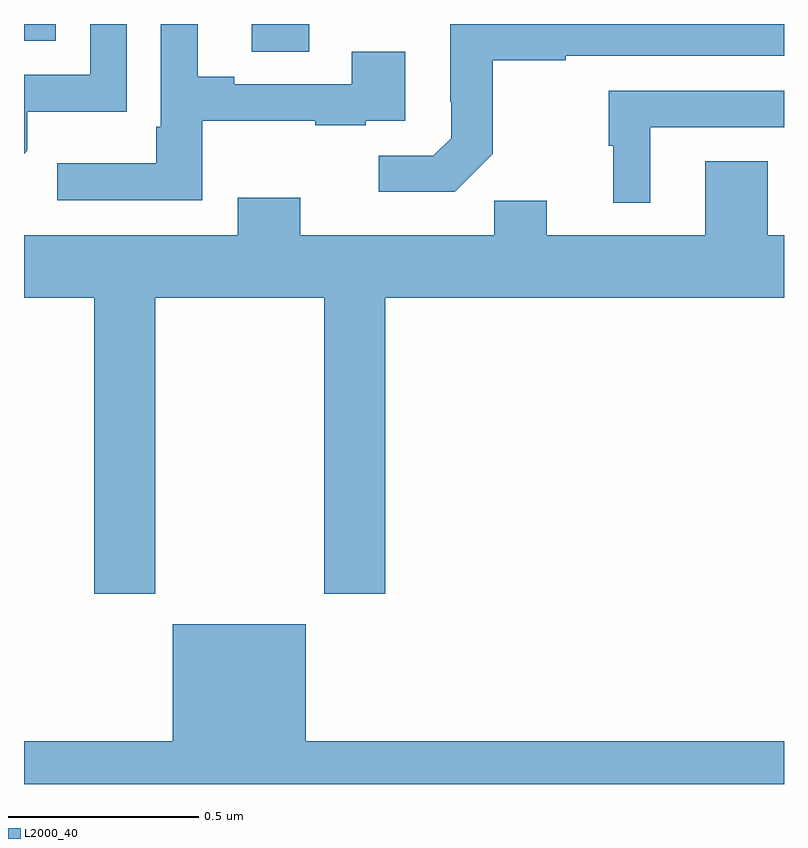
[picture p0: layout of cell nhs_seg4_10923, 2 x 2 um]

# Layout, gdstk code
import gdstk
lib = gdstk.Library(unit=1e-6, precision=1e-09)
def R(c, l, rs):  # rectangles x0, y0, x1, y1
    for r in rs: c.add(gdstk.rectangle(r[:2], r[2:], *l))
def P(c, l, *ps):  # polygons
    for p in ps: c.add(gdstk.Polygon(p, *l))
L2000_40 = (2000, 40)

nhs_seg4_10923 = lib.new_cell('nhs_seg4_10923')
R(nhs_seg4_10923, L2000_40, [(246.599,770.827,246.751,770.9), (246,770.856,246.084,770.9)])
P(nhs_seg4_10923, L2000_40, [(246.009,770.567),(246.009,770.669),(246.27,770.669),(246.27,770.9),(246.174,770.9),(246.174,770.766),(246,770.766),(246,770.558)],
  [(246.469,770.645),(246.767,770.645),(246.767,770.634),(246.899,770.634),(246.899,770.646),(247.003,770.646),(247.003,770.827),(246.863,770.827),(246.863,770.742),(246.553,770.742),(246.553,770.761),(246.457,770.761),(246.457,770.9),(246.36,770.9),(246.36,770.629),(246.348,770.629),(246.348,770.533),(246.087,770.533),(246.087,770.436),(246.469,770.436)],
  [(247.233,770.559),(247.233,770.805),(247.425,770.805),(247.425,770.817),(248,770.817),(248,770.9),(247.122,770.9),(247.122,770.695),(247.124,770.695),(247.124,770.6),(247.077,770.553),(246.933,770.553),(246.933,770.459),(247.133,770.459)],
  [(247.648,770.628),(248,770.628),(248,770.724),(247.539,770.724),(247.539,770.58),(247.55,770.58),(247.55,770.429),(247.648,770.429)],
  [(246.345,770.18),(246.79,770.18),(246.79,769.401),(246.95,769.401),(246.95,770.18),(248,770.18),(248,770.344),(247.957,770.344),(247.957,770.539),(247.793,770.539),(247.793,770.344),(247.375,770.344),(247.375,770.435),(247.237,770.435),(247.237,770.344),(246.727,770.344),(246.727,770.443),(246.563,770.443),(246.563,770.344),(246,770.344),(246,770.18),(246.185,770.18),(246.185,769.401),(246.345,769.401)],
  [(248,769.012),(246.742,769.012),(246.742,769.321),(246.392,769.321),(246.392,769.012),(246,769.012),(246,768.9),(248,768.9)])

lib.write_gds('nhs_seg4_10923.gds')
